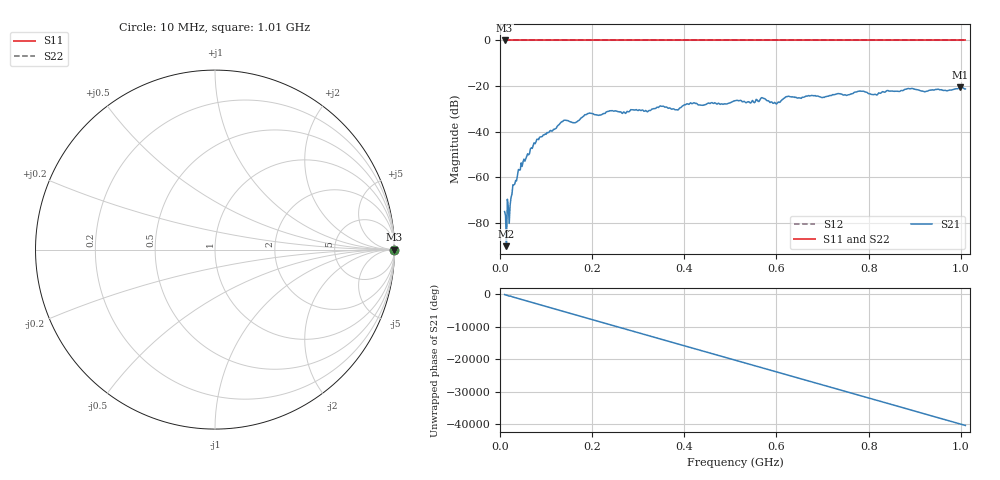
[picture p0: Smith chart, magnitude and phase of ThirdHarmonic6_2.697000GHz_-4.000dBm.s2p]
! 8/17/2025 6:25:58 AM
! C:\ANRITSUVNA\TEMP\TEMP.S2P
! CHANNEL.1
! TR.MEASUREMENT
! RAW.DATA
! RF.CORRECTION.OFF
! AVERAGING.OFF
! IF.BANDWIDTH: 5KHZ
! SWEEPTYPE:  FREQ.SWEEP(Linear)
! Reference Plane Port Info
! PORT:  PORT1  PORT2
! DISTANCE:  0  m  0  m
! TIME:  0  s  0  s
! PHASE.OFFSET:  0  deg.  0  deg.
! LOSS:  0  dB  0  dB
! REF.LOSS:  0  dB  0  dB
! REF.FREQ:  0  Hz  0  Hz
! Power Info
! POWER:  -20  dBm  -20  dBm
! EFF.POWER:  -20  dBm  -20  dBm
! SOURCE.ATTEN:  0  dB  0  dB
! TEST.ATTEN:  0  dB  0  dB
# GHZ S RI R 50.0
! FREQ.GHZ  S11RE  S11IM  S21RE  S21IM  S12RE  S12IM  S22RE  S22IM
!; PortSelection: Port_12
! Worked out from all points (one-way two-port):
!   501 points, 10 MHz to 1.01 GHz, reference 50 ohm
!   highest |S21| = -20.58 dB at 998 MHz (marker M1); lowest = -90.2 dB at 14 MHz (marker M2)
!   lowest |S11| = 0.0 dB at 10 MHz (marker M3)
!   |S11| at or under -10 dB: nowhere
!   |S22| runs from 0.0 to 0.0 dB; largest |S21 - S12| = 1.1
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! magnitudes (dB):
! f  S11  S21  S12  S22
! 10 MHz  0.0  -75.0  0.0  0.0
! 14 MHz  0.0  -90.2  0.0  0.0
! 18 MHz  0.0  -72.9  0.0  0.0
! 28 MHz  0.0  -63.3  0.0  0.0
! 42 MHz  0.0  -56.8  0.0  0.0
! 78 MHz  0.0  -44.5  0.0  0.0
! 136 MHz  0.0  -35.5  0.0  0.0
! 162 MHz  0.0  -36.1  0.0  0.0
! 178 MHz  0.0  -33.7  0.0  0.0
! 194 MHz  0.0  -31.8  0.0  0.0
! 322 MHz  0.0  -30.9  0.0  0.0
! 344 MHz  0.0  -29.4  0.0  0.0
! 384 MHz  0.0  -30.4  0.0  0.0
! 410 MHz  0.0  -28.0  0.0  0.0
! 510 MHz  0.0  -26.4  0.0  0.0
! 570 MHz  0.0  -25.2  0.0  0.0
! 598 MHz  0.0  -27.6  0.0  0.0
! 624 MHz  0.0  -24.6  0.0  0.0
! 678 MHz  0.0  -24.2  0.0  0.0
! 844 MHz  0.0  -22.1  0.0  0.0
! 998 MHz  0.0  -20.6  0.0  0.0
! 1.01 GHz  0.0  -21.3  0.0  0.0
